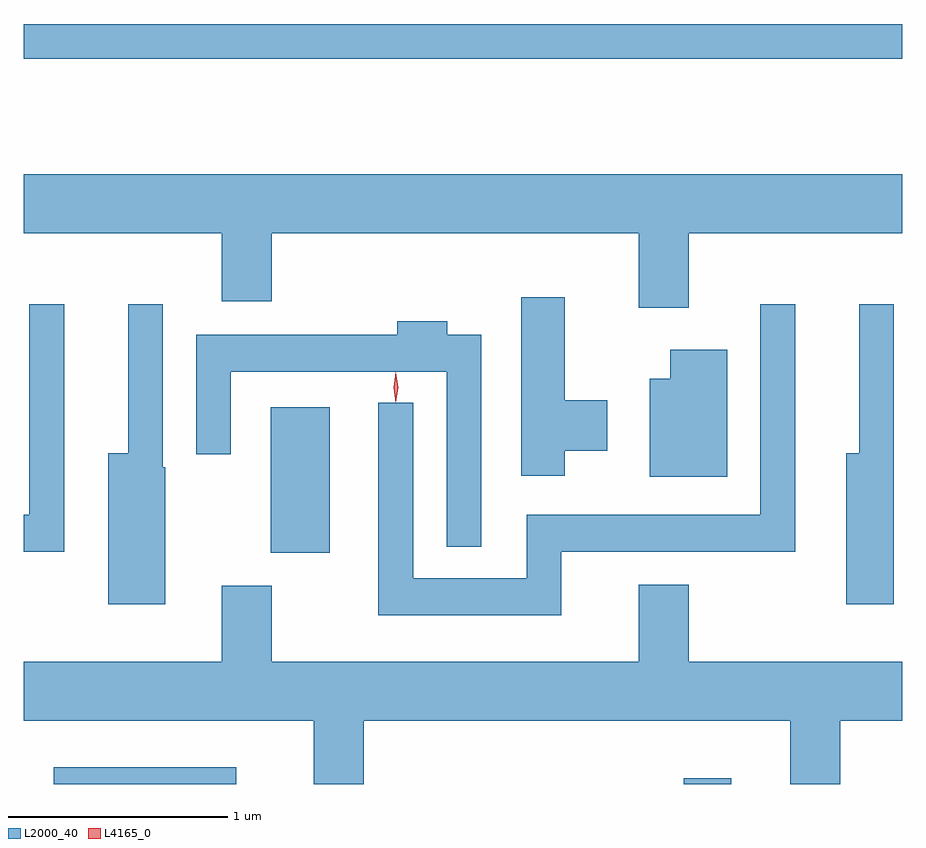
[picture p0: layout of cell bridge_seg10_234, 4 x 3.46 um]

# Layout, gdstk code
import gdstk
lib = gdstk.Library(unit=1e-6, precision=1e-09)
def R(c, l, rs):  # rectangles x0, y0, x1, y1
    for r in rs: c.add(gdstk.rectangle(r[:2], r[2:], *l))
def P(c, l, *ps):  # polygons
    for p in ps: c.add(gdstk.Polygon(p, *l))
L2000_40 = (2000, 40)
L4165_0 = (4165, 0)

bridge_seg10_234 = lib.new_cell('bridge_seg10_234')
R(bridge_seg10_234, L2000_40, [(1801.946,2100.307,1802.779,2100.384), (1804.816,2100.307,1805.034,2100.334), (1802.936,2101.361,1803.204,2102.024), (1801.811,2103.611,1805.811,2103.769)])
P(bridge_seg10_234, L2000_40, [(1804.839,2102.816),(1805.811,2102.816),(1805.811,2103.084),(1801.811,2103.084),(1801.811,2102.816),(1802.711,2102.816),(1802.711,2102.506),(1802.939,2102.506),(1802.939,2102.816),(1804.611,2102.816),(1804.611,2102.476),(1804.839,2102.476)],
  [(1804.274,2101.826),(1804.469,2101.826),(1804.469,2102.054),(1804.274,2102.054),(1804.274,2102.524),(1804.076,2102.524),(1804.076,2101.711),(1804.274,2101.711)],
  [(1801.994,2102.493),(1801.836,2102.493),(1801.836,2101.534),(1801.811,2101.534),(1801.811,2101.366),(1801.994,2101.366)],
  [(1805.774,2102.493),(1805.616,2102.493),(1805.616,2101.814),(1805.556,2101.814),(1805.556,2101.126),(1805.774,2101.126)],
  [(1804.259,2101.366),(1805.324,2101.366),(1805.324,2102.493),(1805.166,2102.493),(1805.166,2101.534),(1804.101,2101.534),(1804.101,2101.244),(1803.584,2101.244),(1803.584,2102.043),(1803.426,2102.043),(1803.426,2101.076),(1804.259,2101.076)],
  [(1802.454,2101.75),(1802.444,2101.75),(1802.444,2102.493),(1802.286,2102.493),(1802.286,2101.814),(1802.196,2101.814),(1802.196,2101.126),(1802.454,2101.126)],
  [(1803.894,2102.354),(1803.739,2102.354),(1803.739,2102.414),(1803.511,2102.414),(1803.511,2102.354),(1802.596,2102.354),(1802.596,2101.808),(1802.754,2101.808),(1802.754,2102.186),(1803.736,2102.186),(1803.736,2101.388),(1803.894,2101.388)],
  [(1805.014,2102.284),(1804.756,2102.284),(1804.756,2102.154),(1804.661,2102.154),(1804.661,2101.706),(1805.014,2101.706)],
  [(1803.359,2100.596),(1805.301,2100.596),(1805.301,2100.307),(1805.529,2100.307),(1805.529,2100.596),(1805.811,2100.596),(1805.811,2100.864),(1804.839,2100.864),(1804.839,2101.214),(1804.611,2101.214),(1804.611,2100.864),(1802.939,2100.864),(1802.939,2101.209),(1802.711,2101.209),(1802.711,2100.864),(1801.811,2100.864),(1801.811,2100.596),(1803.131,2100.596),(1803.131,2100.307),(1803.359,2100.307)])
P(bridge_seg10_234, L4165_0, [(1803.504,2102.044),(1803.495,2102.113),(1803.504,2102.182),(1803.505,2102.183),(1803.505,2102.182),(1803.515,2102.113),(1803.505,2102.044),(1803.505,2102.044)],
  [(1803.505,2102.047),(1803.504,2102.048),(1803.495,2102.114),(1803.504,2102.18),(1803.505,2102.181),(1803.505,2102.18),(1803.515,2102.114),(1803.505,2102.048)])

lib.write_gds('bridge_seg10_234.gds')
